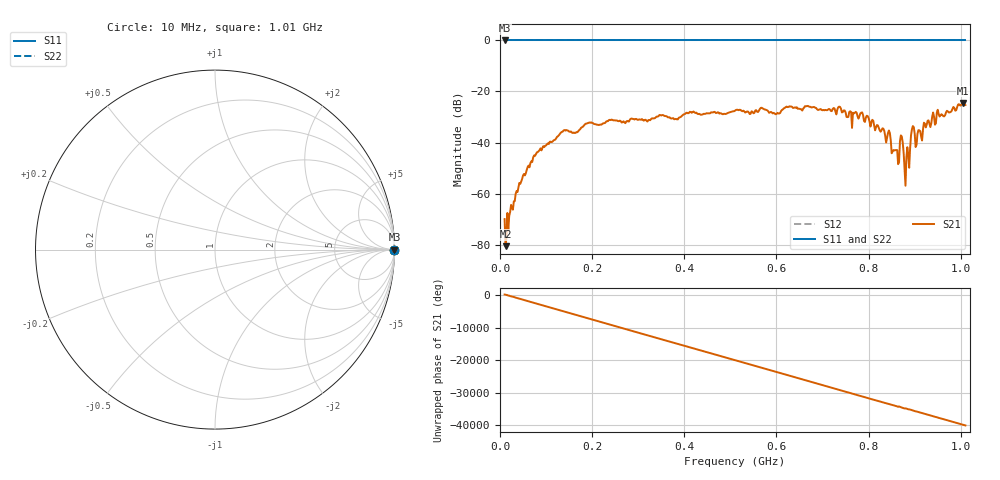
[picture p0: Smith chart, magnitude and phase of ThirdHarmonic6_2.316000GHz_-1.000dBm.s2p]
! 8/17/2025 3:15:11 AM
! C:\ANRITSUVNA\TEMP\TEMP.S2P
! CHANNEL.1
! TR.MEASUREMENT
! RAW.DATA
! RF.CORRECTION.OFF
! AVERAGING.OFF
! IF.BANDWIDTH: 5KHZ
! SWEEPTYPE:  FREQ.SWEEP(Linear)
! Reference Plane Port Info
! PORT:  PORT1  PORT2
! DISTANCE:  0  m  0  m
! TIME:  0  s  0  s
! PHASE.OFFSET:  0  deg.  0  deg.
! LOSS:  0  dB  0  dB
! REF.LOSS:  0  dB  0  dB
! REF.FREQ:  0  Hz  0  Hz
! Power Info
! POWER:  -20  dBm  -20  dBm
! EFF.POWER:  -20  dBm  -20  dBm
! SOURCE.ATTEN:  0  dB  0  dB
! TEST.ATTEN:  0  dB  0  dB
# GHZ S RI R 50.0
! FREQ.GHZ  S11RE  S11IM  S21RE  S21IM  S12RE  S12IM  S22RE  S22IM
!; PortSelection: Port_12
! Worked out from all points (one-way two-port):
!   501 points, 10 MHz to 1.01 GHz, reference 50 ohm
!   highest |S21| = -24.54 dB at 1.004 GHz (marker M1); lowest = -80.6 dB at 12 MHz (marker M2)
!   lowest |S11| = 0.0 dB at 10 MHz (marker M3)
!   |S11| at or under -10 dB: nowhere
!   |S22| runs from 0.0 to 0.0 dB; largest |S21 - S12| = 1.1
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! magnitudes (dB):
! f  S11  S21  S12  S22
! 10 MHz  0.0  -70.0  0.0  0.0
! 12 MHz  0.0  -80.6  0.0  0.0
! 16 MHz  0.0  -67.6  0.0  0.0
! 20 MHz  0.0  -68.7  0.0  0.0
! 38 MHz  0.0  -59.4  0.0  0.0
! 76 MHz  0.0  -45.2  0.0  0.0
! 136 MHz  0.0  -35.7  0.0  0.0
! 178 MHz  0.0  -34.0  0.0  0.0
! 344 MHz  0.0  -29.7  0.0  0.0
! 510 MHz  0.0  -27.5  0.0  0.0
! 678 MHz  0.0  -26.2  0.0  0.0
! 784 MHz  0.0  -28.3  0.0  0.0
! 844 MHz  0.0  -35.3  0.0  0.0
! 862 MHz  0.0  -43.0  0.0  0.0
! 872 MHz  0.0  -37.6  0.0  0.0
! 878 MHz  0.0  -50.2  0.0  0.0
! 884 MHz  0.0  -41.9  0.0  0.0
! 896 MHz  0.0  -33.6  0.0  0.0
! 904 MHz  0.0  -40.9  0.0  0.0
! 952 MHz  0.0  -28.8  0.0  0.0
! 1.004 GHz  0.0  -24.5  0.0  0.0
! 1.01 GHz  0.0  -25.3  0.0  0.0
